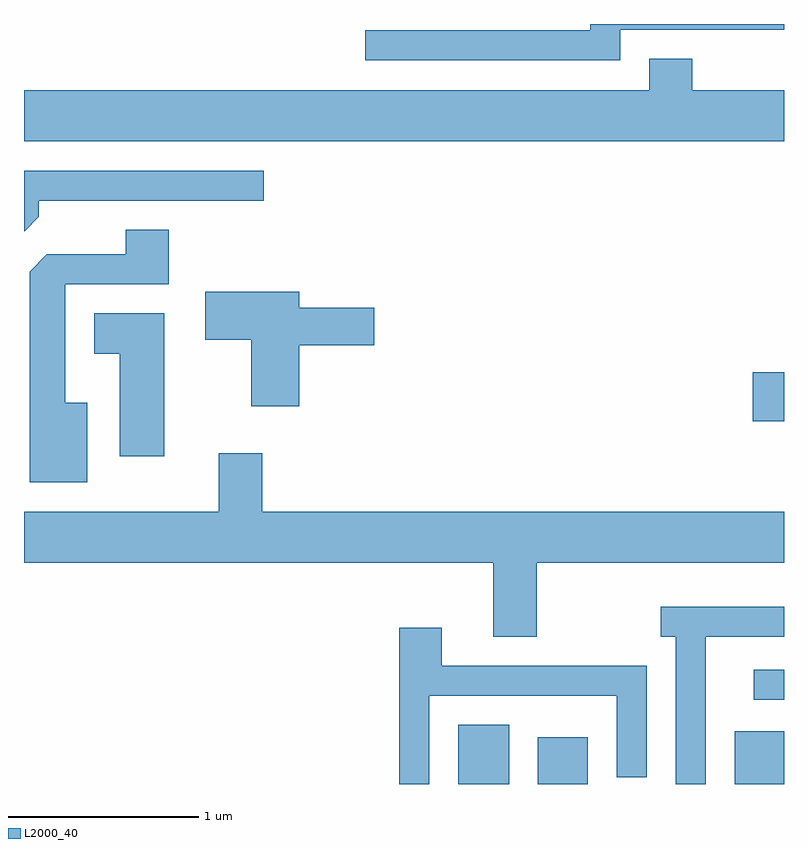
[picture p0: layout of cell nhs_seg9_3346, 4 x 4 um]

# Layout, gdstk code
import gdstk
lib = gdstk.Library(unit=1e-6, precision=1e-09)
def R(c, l, rs):  # rectangles x0, y0, x1, y1
    for r in rs: c.add(gdstk.rectangle(r[:2], r[2:], *l))
def P(c, l, *ps):  # polygons
    for p in ps: c.add(gdstk.Polygon(p, *l))
L2000_40 = (2000, 40)

nhs_seg9_3346 = lib.new_cell('nhs_seg9_3346')
R(nhs_seg9_3346, L2000_40, [(285.896,1988.432,286.164,1988.744), (286.316,1988.432,286.579,1988.679), (287.351,1988.432,287.611,1988.709), (287.453,1988.876,287.611,1989.034), (287.446,1990.341,287.611,1990.599)])
P(nhs_seg9_3346, L2000_40, [(286.749,1992.401),(287.611,1992.401),(287.611,1992.432),(286.591,1992.432),(286.591,1992.399),(285.408,1992.399),(285.408,1992.241),(286.749,1992.241)],
  [(287.611,1992.084),(287.129,1992.084),(287.129,1992.249),(286.901,1992.249),(286.901,1992.084),(283.611,1992.084),(283.611,1991.816),(287.611,1991.816)],
  [(283.689,1991.417),(283.689,1991.501),(284.873,1991.501),(284.873,1991.659),(283.611,1991.659),(283.611,1991.341),(283.614,1991.341)],
  [(283.944,1990.439),(283.829,1990.439),(283.829,1991.061),(284.374,1991.061),(284.374,1991.349),(284.146,1991.349),(284.146,1991.219),(283.732,1991.219),(283.641,1991.129),(283.641,1990.021),(283.944,1990.021)],
  [(285.059,1990.741),(285.454,1990.741),(285.454,1990.939),(285.059,1990.939),(285.059,1991.024),(284.566,1991.024),(284.566,1990.771),(284.806,1990.771),(284.806,1990.421),(285.059,1990.421)],
  [(284.349,1990.909),(283.981,1990.909),(283.981,1990.696),(284.116,1990.696),(284.116,1990.156),(284.349,1990.156)],
  [(286.309,1989.596),(287.611,1989.596),(287.611,1989.864),(284.864,1989.864),(284.864,1990.174),(284.636,1990.174),(284.636,1989.864),(283.611,1989.864),(283.611,1989.596),(286.081,1989.596),(286.081,1989.206),(286.309,1989.206)],
  [(287.199,1989.206),(287.611,1989.206),(287.611,1989.364),(286.963,1989.364),(286.963,1989.206),(287.041,1989.206),(287.041,1988.432),(287.199,1988.432)],
  [(285.744,1988.896),(286.731,1988.896),(286.731,1988.468),(286.889,1988.468),(286.889,1989.054),(285.809,1989.054),(285.809,1989.254),(285.586,1989.254),(285.586,1988.432),(285.744,1988.432)])

lib.write_gds('nhs_seg9_3346.gds')
